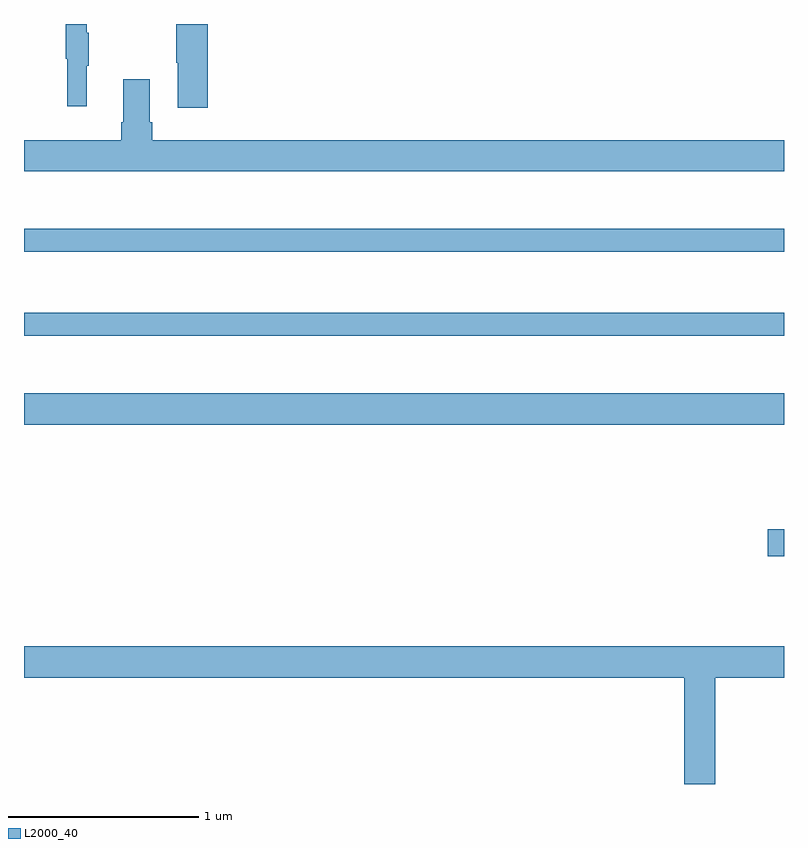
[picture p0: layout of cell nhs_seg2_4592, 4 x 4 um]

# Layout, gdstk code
import gdstk
lib = gdstk.Library(unit=1e-6, precision=1e-09)
def R(c, l, rs):  # rectangles x0, y0, x1, y1
    for r in rs: c.add(gdstk.rectangle(r[:2], r[2:], *l))
def P(c, l, *ps):  # polygons
    for p in ps: c.add(gdstk.Polygon(p, *l))
L2000_40 = (2000, 40)

nhs_seg2_4592 = lib.new_cell('nhs_seg2_4592')
R(nhs_seg2_4592, L2000_40, [(364.914,590.998,365,591.14), (361,591.692,365,591.856), (361,592.158,365,592.279), (361,592.602,365,592.723)])
P(nhs_seg2_4592, L2000_40, [(361.967,593.8),(361.801,593.8),(361.801,593.596),(361.808,593.596),(361.808,593.358),(361.967,593.358)],
  [(361.331,593.579),(361.342,593.579),(361.342,593.753),(361.331,593.753),(361.331,593.8),(361.221,593.8),(361.221,593.616),(361.228,593.616),(361.228,593.367),(361.331,593.367)],
  [(365,593.188),(361.676,593.188),(361.676,593.284),(361.663,593.284),(361.663,593.509),(361.523,593.509),(361.523,593.284),(361.511,593.284),(361.511,593.188),(361,593.188),(361,593.024),(365,593.024)],
  [(361,590.36),(364.475,590.36),(364.475,589.8),(364.639,589.8),(364.639,590.36),(365,590.36),(365,590.524),(361,590.524)])

lib.write_gds('nhs_seg2_4592.gds')
